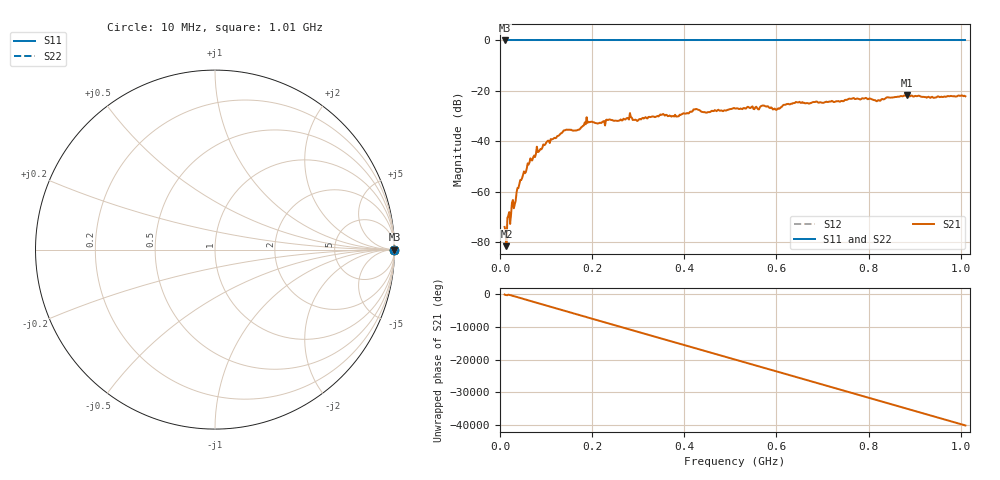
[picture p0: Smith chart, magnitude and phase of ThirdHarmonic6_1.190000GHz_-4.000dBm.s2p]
! 8/16/2025 12:13:25 PM
! C:\ANRITSUVNA\TEMP\TEMP.S2P
! CHANNEL.1
! TR.MEASUREMENT
! RAW.DATA
! RF.CORRECTION.OFF
! AVERAGING.OFF
! IF.BANDWIDTH: 5KHZ
! SWEEPTYPE:  FREQ.SWEEP(Linear)
! Reference Plane Port Info
! PORT:  PORT1  PORT2
! DISTANCE:  0  m  0  m
! TIME:  0  s  0  s
! PHASE.OFFSET:  0  deg.  0  deg.
! LOSS:  0  dB  0  dB
! REF.LOSS:  0  dB  0  dB
! REF.FREQ:  0  Hz  0  Hz
! Power Info
! POWER:  -20  dBm  -20  dBm
! EFF.POWER:  -20  dBm  -20  dBm
! SOURCE.ATTEN:  0  dB  0  dB
! TEST.ATTEN:  0  dB  0  dB
# GHZ S RI R 50.0
! FREQ.GHZ  S11RE  S11IM  S21RE  S21IM  S12RE  S12IM  S22RE  S22IM
!; PortSelection: Port_12
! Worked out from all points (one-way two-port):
!   501 points, 10 MHz to 1.01 GHz, reference 50 ohm
!   highest |S21| = -21.74 dB at 884 MHz (marker M1); lowest = -81.5 dB at 14 MHz (marker M2)
!   lowest |S11| = 0.0 dB at 10 MHz (marker M3)
!   |S11| at or under -10 dB: nowhere
!   |S22| runs from 0.0 to 0.0 dB; largest |S21 - S12| = 1.1
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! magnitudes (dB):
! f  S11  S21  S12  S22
! 10 MHz  0.0  -73.9  0.0  0.0
! 14 MHz  0.0  -81.5  0.0  0.0
! 48 MHz  0.0  -54.5  0.0  0.0
! 76 MHz  0.0  -46.2  0.0  0.0
! 140 MHz  0.0  -35.6  0.0  0.0
! 178 MHz  0.0  -34.2  0.0  0.0
! 192 MHz  0.0  -32.3  0.0  0.0
! 216 MHz  0.0  -32.6  0.0  0.0
! 282 MHz  0.0  -28.8  0.0  0.0
! 296 MHz  0.0  -31.6  0.0  0.0
! 344 MHz  0.0  -30.1  0.0  0.0
! 386 MHz  0.0  -30.1  0.0  0.0
! 424 MHz  0.0  -27.3  0.0  0.0
! 450 MHz  0.0  -28.5  0.0  0.0
! 510 MHz  0.0  -27.0  0.0  0.0
! 572 MHz  0.0  -25.8  0.0  0.0
! 596 MHz  0.0  -27.0  0.0  0.0
! 640 MHz  0.0  -24.7  0.0  0.0
! 678 MHz  0.0  -24.5  0.0  0.0
! 844 MHz  0.0  -22.6  0.0  0.0
! 884 MHz  0.0  -21.7  0.0  0.0
! 1.01 GHz  0.0  -22.1  0.0  0.0
